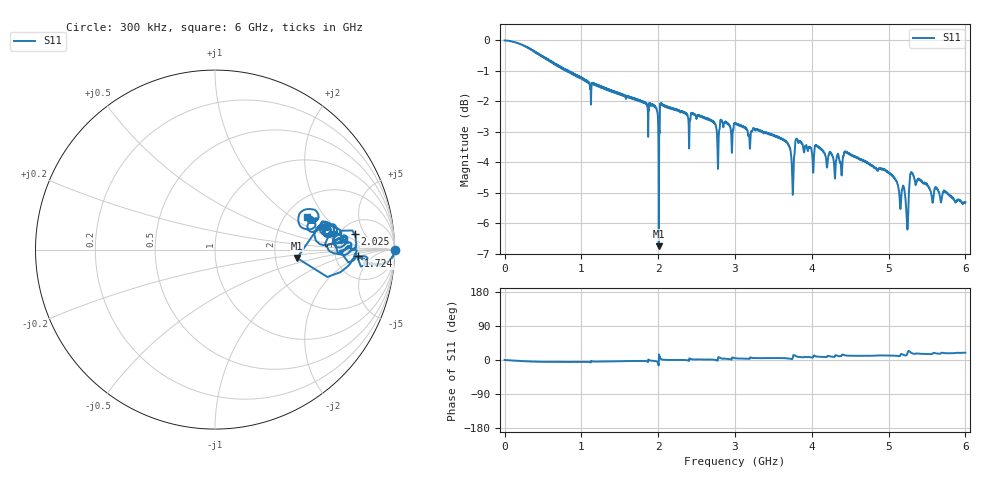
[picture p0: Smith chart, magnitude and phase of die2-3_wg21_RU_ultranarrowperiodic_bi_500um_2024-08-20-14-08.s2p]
!Keysight Technologies,P9374A,MY57304198,A.17.20.09
!Date: Tuesday, August 20, 2024 14:08:59
!Correction: S11(C  1-Port  )
!S21(C  1-Port  )
!S12(Off)
!S22(Off)
!S2P File: Measurements: S11, S21, S12, S22:
# Hz S  dB  R 50
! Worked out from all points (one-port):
!   6000 points, 300 kHz to 6 GHz, reference 50 ohm
!   lowest |S11| = -6.8 dB at 2.008 GHz (marker M1), VSWR 2.70, Z = 133 - j15.8 ohm
!   |S11| at or under -10 dB: nowhere
!   S11 on the Smith chart (normalised r, x): 300 kHz: open; 1.724 GHz: 8.54, -1.70; 2.025 GHz: 6.87, +3.04; 6 GHz: 2.61, +1.33
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300000  0.00 -0.0  -200.00 45.0  -200.00 45.0  -200.00 45.0
4.073475e8  -0.38 -4.3  -200.00 45.0  -200.00 45.0  -200.00 45.0
1.000417e9  -1.26 -5.1  -200.00 45.0  -200.00 45.0  -200.00 45.0
1.723501e9  -1.96 -2.6  -200.00 45.0  -200.00 45.0  -200.00 45.0
1.899522e9  -2.10 -1.8  -200.00 45.0  -200.00 45.0  -200.00 45.0
1.977531e9  -2.22 -3.6  -200.00 45.0  -200.00 45.0  -200.00 45.0
2.000533e9  -2.84 -9.3  -200.00 45.0  -200.00 45.0  -200.00 45.0
2.007534e9  -6.75 -5.9  -200.00 45.0  -200.00 45.0  -200.00 45.0
2.024536e9  -2.12 6.3  -200.00 45.0  -200.00 45.0  -200.00 45.0
2.05554e9  -2.10 1.2  -200.00 45.0  -200.00 45.0  -200.00 45.0
2.74662e9  -2.76 0.2  -200.00 45.0  -200.00 45.0  -200.00 45.0
2.808628e9  -2.63 5.5  -200.00 45.0  -200.00 45.0  -200.00 45.0
3.00065e9  -2.71 4.7  -200.00 45.0  -200.00 45.0  -200.00 45.0
3.647726e9  -3.30 4.9  -200.00 45.0  -200.00 45.0  -200.00 45.0
3.751738e9  -5.04 6.2  -200.00 45.0  -200.00 45.0  -200.00 45.0
3.816745e9  -3.27 8.3  -200.00 45.0  -200.00 45.0  -200.00 45.0
4.000767e9  -3.67 6.6  -200.00 45.0  -200.00 45.0  -200.00 45.0
4.420816e9  -3.69 13.1  -200.00 45.0  -200.00 45.0  -200.00 45.0
5.000883e9  -4.34 11.7  -200.00 45.0  -200.00 45.0  -200.00 45.0
5.243912e9  -6.21 16.8  -200.00 45.0  -200.00 45.0  -200.00 45.0
5.31292e9  -4.37 17.3  -200.00 45.0  -200.00 45.0  -200.00 45.0
6e9  -5.31 19.3  -200.00 45.0  -200.00 45.0  -200.00 45.0
